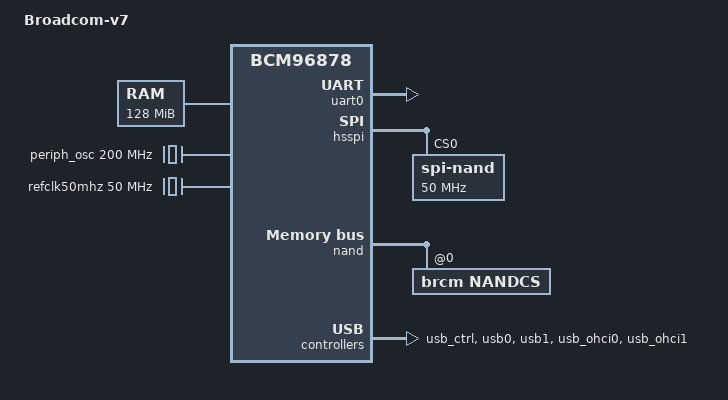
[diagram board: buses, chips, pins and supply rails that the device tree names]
/dts-v1/;



/ {
	model = "Broadcom-v7";
	compatible = "brcm,brcm-v7";
	#address-cells = <0x1>;
	#size-cells = <0x1>;

	aliases {
		serial0 = &uart0;
	};


	chosen {
		stdout-path = "serial0:115200n8";
	};

	memory {
		device_type = "memory";
		reg = <0x0 0x08000000>;
	};

    boot_state {
        u-boot,dm-pre-reloc;
        compatible = "brcm,bcmbca-bootstate-v2";
        reg-names = "reset_reason", "reset_status";
        reg =   <0xff802628 0x04>,
            <0xff85a03c 0x04>;
    };

	clocks {
		compatible = "simple-bus";
		#address-cells = <1>;
		#size-cells = <1>;
		ranges;
		u-boot,dm-pre-reloc;

		periph_osc: periph-osc {
			compatible = "fixed-clock";
			#clock-cells = <0>;
			clock-frequency = <200000000>;
			u-boot,dm-pre-reloc;
		};

		hsspi_pll: hsspi-pll {
			compatible = "fixed-factor-clock";
			#clock-cells = <0>;
			clocks = <&periph_osc>;
			clock-mult = <1>;
			clock-div = <1>;
			u-boot,dm-pre-reloc;
		};

		refclk50mhz: refclk50mhz {
			compatible = "fixed-clock";
			#clock-cells = <0>;
			clock-frequency = <50000000>;
		};
	};

	ubus@ff800000 {
		compatible = "simple-bus";
		#address-cells = <0x1>;
		#size-cells = <0x1>;
		u-boot,dm-pre-reloc;

		uart0: serial@ff812000 {
			u-boot,dm-pre-reloc;
			compatible = "arm,pl011", "arm,primecell";
			reg = <0xff812000 0x1000>;
			clock = <50000000>;
			status = "okay";
		};

		wdt1: watchdog@ff800480 {
			compatible = "brcm,bcm6345-wdt";
			reg = <0xff800480 0x14>;
			clocks = <&refclk50mhz>;
		};

		wdt2: watchdog@ff8004c0 {
			compatible = "brcm,bcm6345-wdt";
			reg = <0xff8004c0 0x14>;
			clocks = <&refclk50mhz>;
		};


		wdt-reboot {
			compatible = "wdt-reboot";
			wdt = <&wdt1>;
		};

		hsspi: hsspi@ff801000 {
			compatible = "brcm,bcm6328-hsspi";
			#address-cells = <0x1>;
			#size-cells = <0x0>;
			u-boot,dm-pre-reloc;
			
			reg = <0xff801000 0x1000>;
			clocks = <&hsspi_pll>, <&hsspi_pll>;
			clock-names = "hsspi", "pll";
			spi-max-frequency = <50000000>;
			num-cs = <8>;
			status = "disabled";
		};

		nand: nand-controller@ff801800 {
			compatible = "brcm,nand-bcmbca", "brcm,brcmnand-v7.1";
			reg-names = "nand", "nand-int-base";
			reg = <0xff801800 0x600>, <0xff802000 0x10>;
			parameter-page-big-endian = <0>;
			status = "disabled";
		};

		rng: rng@ff800b80 {
			compatible = "brcm,iproc-rng200";
			reg = <0xff800b80 0x28>;
			u-boot,dm-pre-reloc;
		};

		pinctrl: pinctrl {
		compatible = "brcm,bcmbca-pinctrl";
		reg = <0xff800554 0x14>;
		};

		usb_ctrl:usb_ctrl {
		compatible = "brcm,bcmbca-usb-ctrl";
		reg-names = "usb-ctrl";
		reg = <0x8000c200 0x100>;
		status = "okay";
		};

		usb0: usb@0x8000c300 {
		compatible = "brcm,bcmbca-ehci";
		reg-names = "usb-ehci";
		reg = <0x8000c300 0x100>;
		};

		usb1: usb@0x8000c500 {
		compatible = "brcm,bcmbca-ehci";
		reg-names = "usb-ehci";
		reg = <0x8000c500 0x100>;
		};

		usb_ohci0: usb_ohci@0x8000c400 {
		compatible = "brcm,bcmbca-ohci";
		reg-names = "usb-ohci";
		reg = <0x8000c400 0x100>;
		};

		usb_ohci1: usb_ohci@0x8000c600 {
		compatible = "brcm,bcmbca-ohci";
		reg-names = "usb-ohci";
		reg = <0x8000c600 0x100>;
		};
	}; 
};

&nand {
	status = "okay";
	write-protect = <0>;
	#address-cells = <1>;
	#size-cells = <0>;

	nandcs@0 {
		compatible = "brcm,nandcs";
		reg = <0>;
	};
};

&hsspi {
	status = "okay";
	spi-nand {
		compatible = "spi-nand";
		reg = <0>;
		#address-cells = <1>;
		#size-cells = <0>;
		u-boot,dm-pre-reloc;				
		spi-max-frequency = <50000000>;
	};
};

/* &hsspi {
	status = "okay";
	spi-flash@0 {
		compatible = "spi-flash";
		reg = <0>;
		#address-cells = <1>;
		#size-cells = <1>;
		spi-max-frequency = <20000000>;
	}
}; */

/* pinmux */
/ {
	usb0a_pwrflt_pins: usb0a_pwrflt_pinmux {
	    pins = <66>;
	    function = <1>;
	};

	usb0a_pwron_pins: usb0a_pwron_pinmux {
	    pins = <67>;
	    function = <1>;
	};

	usb1a_pwrflt_pins: usb1a_pwrflt_pinmux {
	    pins = <68>;
	    function = <1>;
	};

	usb1a_pwron_pins: usb1a_pwron_pinmux {
	    pins = <69>;
	    function = <1>;
	};
};

&usb0 {
	status = "okay";
	pinctrl-0 = <&usb0a_pwrflt_pins &usb0a_pwron_pins>;
	pinctrl-names="default";
};

&usb1 {
	status = "okay";
	pinctrl-0 = <&usb1a_pwrflt_pins &usb1a_pwron_pins>;
	pinctrl-names="default";
};
